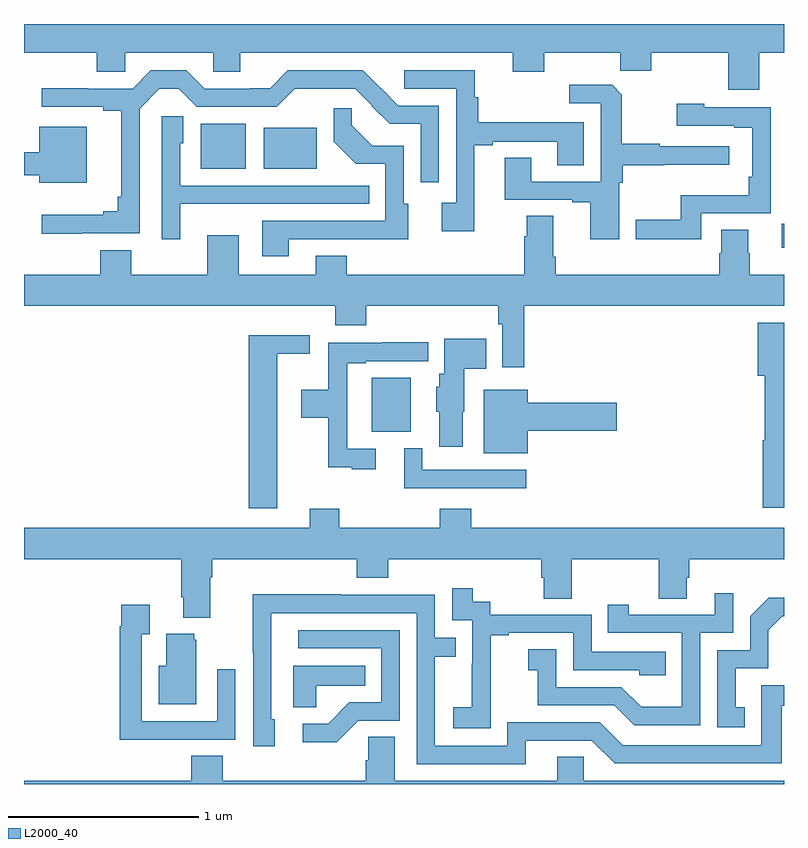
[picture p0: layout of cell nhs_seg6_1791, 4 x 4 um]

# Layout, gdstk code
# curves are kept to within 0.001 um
import gdstk
lib = gdstk.Library(unit=1e-6, precision=1e-09)
def R(c, l, rs):  # rectangles x0, y0, x1, y1
    for r in rs: c.add(gdstk.rectangle(r[:2], r[2:], *l))
def P(c, l, *ps):  # polygons
    for p in ps: c.add(gdstk.Polygon(p, *l))
L2000_40 = (2000, 40)

nhs_seg6_1791 = lib.new_cell('nhs_seg6_1791')
R(nhs_seg6_1791, L2000_40, [(220.829,933.353,221.035,933.637), (222.989,934.322,223,934.448), (219.929,934.739,220.168,934.975), (220.262,934.739,220.54,934.954)])
P(nhs_seg6_1791, L2000_40, [(219,935.348),(219.383,935.348),(219.383,935.25),(219.534,935.25),(219.534,935.348),(219.996,935.348),(219.996,935.25),(220.138,935.25),(220.138,935.348),(221.573,935.348),(221.573,935.249),(221.737,935.249),(221.737,935.348),(222.137,935.348),(222.137,935.255),(222.301,935.255),(222.301,935.348),(222.707,935.348),(222.707,935.154),(222.871,935.154),(222.871,935.348),(223,935.348),(223,935.5),(219,935.5)],
  [(219.305,934.398),(219.609,934.398),(219.609,935.055),(219.713,935.159),(219.814,935.159),(219.909,935.064),(220.329,935.064),(220.424,935.159),(220.743,935.16),(220.833,935.07),(220.831,935.068),(220.925,934.974),(221.088,934.974),(221.088,934.668),(221.184,934.668),(221.184,935.07),(220.971,935.07),(220.783,935.256),(220.389,935.256),(220.295,935.162),(220.19,935.162),(220.19,935.16),(219.951,935.16),(219.855,935.256),(219.668,935.256),(219.572,935.16),(219.339,935.16),(219.339,935.162),(219.093,935.162),(219.093,935.064),(219.416,935.064),(219.416,935.044),(219.512,935.044),(219.512,934.591),(219.493,934.591),(219.493,934.514),(219.416,934.514),(219.416,934.495),(219.093,934.495),(219.093,934.397)],
  [(221.371,934.861),(221.467,934.861),(221.467,934.881),(221.807,934.881),(221.807,934.756),(221.947,934.756),(221.947,934.982),(221.39,934.982),(221.39,935.114),(221.372,935.114),(221.372,935.256),(221.001,935.256),(221.001,935.16),(221.274,935.16),(221.274,934.558),(221.199,934.558),(221.199,934.41),(221.371,934.41)],
  [(222.132,934.664),(222.152,934.664),(222.152,934.756),(222.371,934.756),(222.371,934.76),(222.712,934.76),(222.712,934.857),(222.347,934.857),(222.347,934.87),(222.147,934.87),(222.147,935.127),(222.095,935.179),(221.871,935.179),(221.871,935.082),(222.036,935.082),(222.036,934.671),(221.671,934.671),(221.671,934.796),(221.531,934.796),(221.531,934.575),(221.885,934.575),(221.885,934.563),(221.981,934.563),(221.981,934.368),(222.132,934.368)],
  [(222.564,934.503),(222.93,934.503),(222.93,935.061),(222.579,935.061),(222.579,935.08),(222.435,935.08),(222.435,934.965),(222.737,934.965),(222.737,934.953),(222.834,934.953),(222.834,934.696),(222.814,934.696),(222.814,934.6),(222.456,934.6),(222.456,934.469),(222.219,934.469),(222.219,934.367),(222.564,934.367)],
  [(220.393,934.368),(221.023,934.367),(221.023,934.554),(220.998,934.554),(220.998,934.86),(220.832,934.86),(220.724,934.968),(220.724,935.056),(220.629,935.056),(220.629,934.88),(220.745,934.764),(220.902,934.764),(220.902,934.464),(220.253,934.464),(220.253,934.278),(220.393,934.278)],
  [(219.823,934.553),(220.157,934.553),(220.157,934.554),(220.817,934.554),(220.817,934.65),(219.822,934.65),(219.822,934.872),(219.838,934.872),(219.838,935.015),(219.726,935.015),(219.726,934.368),(219.823,934.368)],
  [(219.331,934.96),(219.08,934.96),(219.08,934.825),(219,934.825),(219,934.703),(219.08,934.703),(219.08,934.664),(219.331,934.664)],
  [(221.633,934.016),(223,934.016),(223,934.18),(222.819,934.18),(222.819,934.293),(222.811,934.293),(222.811,934.418),(222.671,934.418),(222.671,934.293),(222.659,934.293),(222.659,934.18),(221.798,934.18),(221.798,934.276),(221.785,934.276),(221.785,934.49),(221.645,934.49),(221.645,934.382),(221.633,934.382),(221.633,934.18),(220.699,934.18),(220.699,934.279),(220.535,934.279),(220.535,934.18),(220.129,934.18),(220.129,934.387),(219.965,934.387),(219.965,934.18),(219.565,934.18),(219.565,934.309),(219.401,934.309),(219.401,934.18),(219,934.18),(219,934.016),(220.637,934.016),(220.637,933.914),(220.802,933.914),(220.802,934.016),(221.497,934.016),(221.497,933.92),(221.517,933.92),(221.517,933.693),(221.633,933.693)],
  [(223,933.928),(222.863,933.928),(222.863,933.648),(222.899,933.648),(222.899,933.31),(222.887,933.31),(222.887,932.955),(223,932.955)],
  [(220.333,933.764),(220.504,933.764),(220.504,933.862),(220.184,933.862),(220.184,932.952),(220.333,932.952)],
  [(221.308,933.459),(221.317,933.459),(221.317,933.686),(221.432,933.686),(221.432,933.844),(221.213,933.844),(221.213,933.66),(221.186,933.66),(221.186,933.591),(221.171,933.591),(221.171,933.459),(221.186,933.459),(221.186,933.276),(221.308,933.276)],
  [(220.852,933.264),(220.701,933.264),(220.701,933.714),(220.798,933.714),(220.798,933.726),(221.128,933.726),(221.128,933.824),(220.885,933.824),(220.885,933.822),(220.6,933.822),(220.6,933.574),(220.458,933.574),(220.458,933.427),(220.6,933.427),(220.6,933.167),(220.724,933.167),(220.724,933.156),(220.852,933.156)],
  [(221.65,933.359),(222.121,933.359),(222.121,933.506),(221.65,933.506),(221.65,933.574),(221.42,933.574),(221.42,933.242),(221.65,933.242)],
  [(221.644,933.153),(221.097,933.153),(221.097,933.268),(221,933.268),(221,933.057),(221.644,933.057)],
  [(219.979,932.588),(219.992,932.588),(219.992,932.684),(220.751,932.684),(220.751,932.585),(220.916,932.585),(220.916,932.684),(221.723,932.684),(221.723,932.586),(221.735,932.586),(221.735,932.476),(221.883,932.476),(221.883,932.684),(222.34,932.684),(222.34,932.476),(222.487,932.476),(222.487,932.586),(222.5,932.586),(222.5,932.684),(223,932.684),(223,932.848),(221.354,932.848),(221.354,932.95),(221.189,932.95),(221.189,932.848),(220.658,932.848),(220.658,932.95),(220.505,932.95),(220.505,932.848),(219,932.848),(219,932.684),(219.827,932.684),(219.827,932.482),(219.839,932.482),(219.839,932.375),(219.979,932.375)],
  [(221.457,931.999),(221.456,931.999),(221.456,932.283),(221.551,932.283),(221.551,932.295),(221.892,932.295),(221.892,932.1),(222.237,932.1),(222.237,932.073),(222.377,932.073),(222.377,932.196),(221.988,932.196),(221.988,932.391),(221.454,932.391),(221.454,932.46),(221.362,932.46),(221.362,932.53),(221.253,932.53),(221.253,932.361),(221.358,932.361),(221.358,932.132),(221.357,932.132),(221.357,931.903),(221.259,931.903),(221.259,931.793),(221.457,931.793)],
  [(222.558,932.295),(222.732,932.295),(222.732,932.503),(222.635,932.503),(222.635,932.391),(222.184,932.391),(222.184,932.443),(222.073,932.443),(222.073,932.295),(222.462,932.295),(222.462,931.906),(222.248,931.906),(222.144,932.01),(221.802,932.01),(221.802,932.209),(221.655,932.209),(221.655,932.099),(221.704,932.099),(221.704,931.914),(222.107,931.914),(222.212,931.809),(222.558,931.809)],
  [(221.641,931.728),(221.988,931.728),(222.108,931.608),(222.988,931.608),(222.988,931.911),(223,931.911),(223,932.019),(222.879,932.019),(222.879,931.704),(222.15,931.704),(222.03,931.824),(221.544,931.824),(221.544,931.701),(221.163,931.701),(221.163,932.17),(221.273,932.17),(221.273,932.271),(221.163,932.271),(221.163,932.496),(220.667,932.496),(220.667,932.498),(220.204,932.498),(220.204,932.191),(220.206,932.191),(220.206,931.698),(220.321,931.698),(220.321,931.842),(220.302,931.842),(220.302,932.4),(221.067,932.4),(221.067,931.605),(221.641,931.605)],
  [(222.794,931.905),(222.745,931.905),(222.745,932.109),(222.918,932.109),(222.918,932.31),(222.99,932.382),(223,932.382),(223,932.48),(222.92,932.48),(222.822,932.382),(222.822,932.205),(222.648,932.205),(222.648,931.8),(222.794,931.8)],
  [(219.797,931.734),(220.113,931.734),(220.113,932.104),(220.017,932.104),(220.017,931.83),(219.621,931.83),(219.621,932.287),(219.661,932.287),(219.661,932.443),(219.513,932.443),(219.513,932.33),(219.505,932.33),(219.505,931.733),(219.797,931.733)],
  [(220.758,931.833),(220.977,931.833),(220.977,932.31),(220.443,932.31),(220.443,932.214),(220.881,932.214),(220.881,931.929),(220.712,931.929),(220.601,931.818),(220.467,931.818),(220.467,931.721),(220.645,931.721)],
  [(219.907,932.259),(219.896,932.259),(219.896,932.29),(219.749,932.29),(219.749,932.122),(219.71,932.122),(219.71,931.919),(219.907,931.919)],
  [(220.539,932.018),(220.796,932.018),(220.796,932.122),(220.418,932.122),(220.418,931.903),(220.539,931.903)],
  [(221.807,931.516),(220.951,931.516),(220.951,931.748),(220.812,931.748),(220.812,931.625),(220.799,931.625),(220.799,931.516),(220.046,931.516),(220.046,931.649),(219.881,931.649),(219.881,931.516),(219,931.516),(219,931.5),(223,931.5),(223,931.516),(221.946,931.516),(221.946,931.643),(221.807,931.643)])

lib.write_gds('nhs_seg6_1791.gds')
